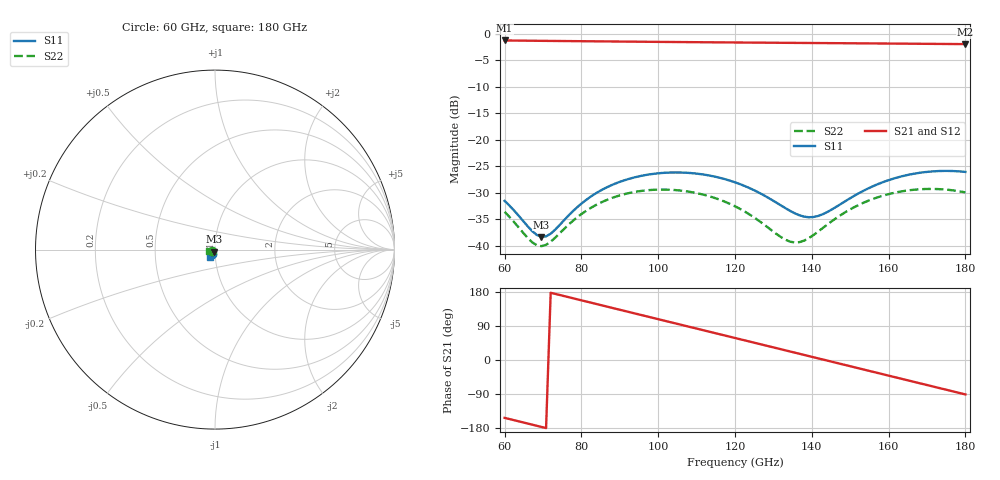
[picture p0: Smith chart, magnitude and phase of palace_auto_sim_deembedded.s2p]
! Created with skrf 1.11.0 (http://scikit-rf.org).
# GHz S DB R 50.0
!freq dBS11 angS11 dBS21 angS21 dBS12 angS12 dBS22 angS22
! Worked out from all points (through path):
!   101 points, 60 GHz to 180 GHz, reference 50 ohm
!   highest |S21| = -1.26 dB at 60 GHz (marker M1); lowest = -2.0 dB at 180 GHz (marker M2)
!   group delay of S21, straight-line fit = 6.9 ps
!   lowest |S11| = -38.3 dB at 69.6 GHz (marker M3), VSWR 1.02, Z = 49.5 - j1.1 ohm
!   |S11| at or under -10 dB: start of sweep to end of sweep
!   |S22| runs from -40.1 to -29.3 dB; largest |S21 - S12| = 9.9e-14
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60  -31.52 -147.5  -1.26 -152.7  -1.26 -152.7  -33.59 -151.2
67.2  -37.24 -131.7  -1.32 -170.6  -1.32 -170.6  -39.35 -133.2
69.6  -38.32 -113.6  -1.33 -176.6  -1.33 -176.6  -40.07 -115.4
72  -37.72 -94.4  -1.35 177.4  -1.35 177.4  -39.24 -98.8
80.4  -31.81 -74.8  -1.41 156.5  -1.41 156.5  -33.81 -85.6
85.2  -29.50 -79.2  -1.44 144.5  -1.44 144.5  -31.80 -91.9
91.2  -27.64 -88.8  -1.48 129.6  -1.48 129.6  -30.26 -103.4
100.8  -26.28 -106.6  -1.54 105.8  -1.54 105.8  -29.40 -124.0
105.6  -26.17 -115.6  -1.57 93.8  -1.57 93.8  -29.57 -134.4
110.4  -26.42 -124.2  -1.59 81.9  -1.59 81.9  -30.12 -144.2
120  -28.03 -138.8  -1.64 58.1  -1.64 58.1  -32.55 -160.3
127.2  -30.35 -144.2  -1.68 40.2  -1.68 40.2  -35.80 -163.6
134.4  -33.43 -136.6  -1.72 22.3  -1.72 22.3  -39.23 -143.6
136.8  -34.25 -129.0  -1.73 16.4  -1.73 16.4  -39.31 -131.1
140.4  -34.57 -114.2  -1.75 7.4  -1.75 7.4  -37.99 -115.9
144  -33.65 -101.0  -1.76 -1.5  -1.76 -1.5  -36.02 -109.0
150  -31.02 -91.5  -1.79 -16.4  -1.79 -16.4  -33.13 -109.9
154.8  -29.14 -92.1  -1.82 -28.3  -1.82 -28.3  -31.47 -116.0
160.8  -27.43 -97.8  -1.85 -43.2  -1.85 -43.2  -30.11 -126.3
170.4  -26.03 -111.5  -1.90 -67.0  -1.90 -67.0  -29.28 -145.4
175.2  -25.87 -119.0  -1.93 -78.9  -1.93 -78.9  -29.42 -155.2
180  -26.07 -126.4  -1.95 -90.8  -1.95 -90.8  -29.94 -164.8
